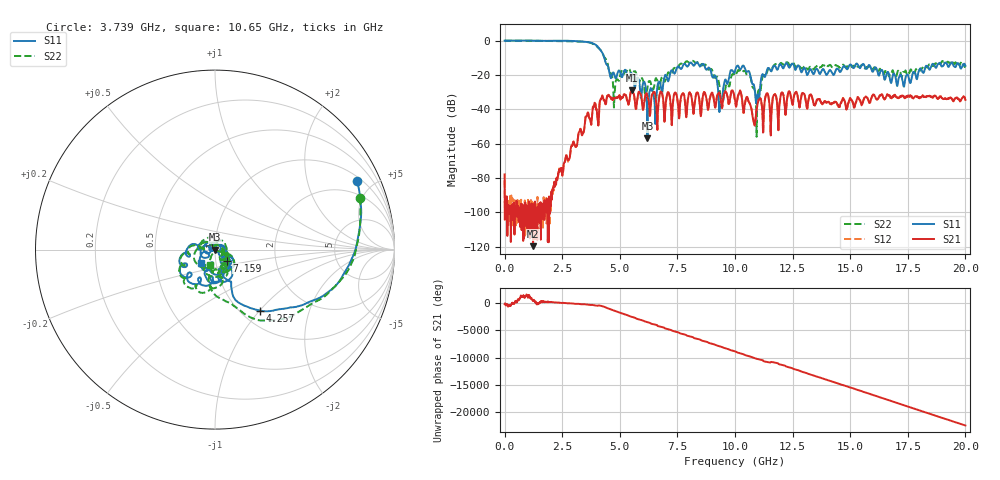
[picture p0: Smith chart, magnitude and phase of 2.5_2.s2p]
#  HZ  S  RI  R  50.00
! Rohde & Schwarz Vector Network Analyzer
! Rohde-Schwarz,ZNB20-2Port,1311601062102128,3.60
! Created: UTC 4/29/2024, 2:52:23 PM
! freq[Hz]  re:S11  im:S11  re:S21  im:S21  re:S12  im:S12  re:S22  im:S22
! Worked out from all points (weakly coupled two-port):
!   2007 points, 100 kHz to 20 GHz, reference 50 ohm
!   highest |S21| = -28.91 dB at 5.543 GHz (marker M1); lowest = -119.6 dB at 1.236 GHz (marker M2)
!   lowest |S11| = -56.8 dB at 6.201 GHz (marker M3), VSWR 1.00, Z = 49.9 - j0.0185 ohm
!   |S11| at or under -10 dB: 4.329 GHz to end of sweep
!   |S22| runs from -55.9 to 0.1 dB; largest |S21 - S12| = 0.0021
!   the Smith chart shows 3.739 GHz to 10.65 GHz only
!   S11 on the Smith chart (normalised r, x): 3.739 GHz: 1.21, +4.03; 4.257 GHz: 1.22, -1.01; 7.159 GHz: 1.13, -0.14; 10.65 GHz: 0.85, -0.13
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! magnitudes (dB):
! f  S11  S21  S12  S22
! 100 kHz  0.0  -77.9  -81.2  0.1
! 1.236 GHz  0.0  -119.6  -102.3  -0.1
! 2.233 GHz  0.0  -83.8  -80.3  -0.3
! 3.34 GHz  -0.6  -54.3  -54.0  -0.6
! 3.739 GHz  -1.1  -47.5  -47.2  -1.3
! 4.257 GHz  -7.5  -33.0  -32.6  -7.6
! 4.776 GHz  -20.2  -33.5  -33.5  -30.6
! 5.543 GHz  -19.7  -28.9  -28.9  -20.2
! 6.201 GHz  -56.8  -32.4  -32.4  -27.4
! 6.67 GHz  -24.5  -37.9  -37.9  -25.7
! 7.159 GHz  -20.8  -32.1  -32.1  -19.2
! 8.614 GHz  -13.6  -31.7  -31.7  -14.3
! 9.153 GHz  -20.6  -38.4  -38.4  -21.8
! 9.372 GHz  -35.8  -33.7  -33.7  -33.6
! 10 GHz  -17.8  -34.5  -34.5  -20.4
! 10.65 GHz  -19.4  -37.0  -37.0  -20.8
! 10.82 GHz  -25.7  -47.6  -47.6  -27.6
! 10.97 GHz  -32.0  -37.8  -37.8  -33.7
! 11.71 GHz  -14.5  -31.5  -31.5  -14.0
! 13.34 GHz  -18.0  -32.7  -32.7  -15.3
! 16.67 GHz  -19.1  -31.8  -31.8  -20.5
! 20 GHz  -14.6  -34.5  -34.5  -14.3
